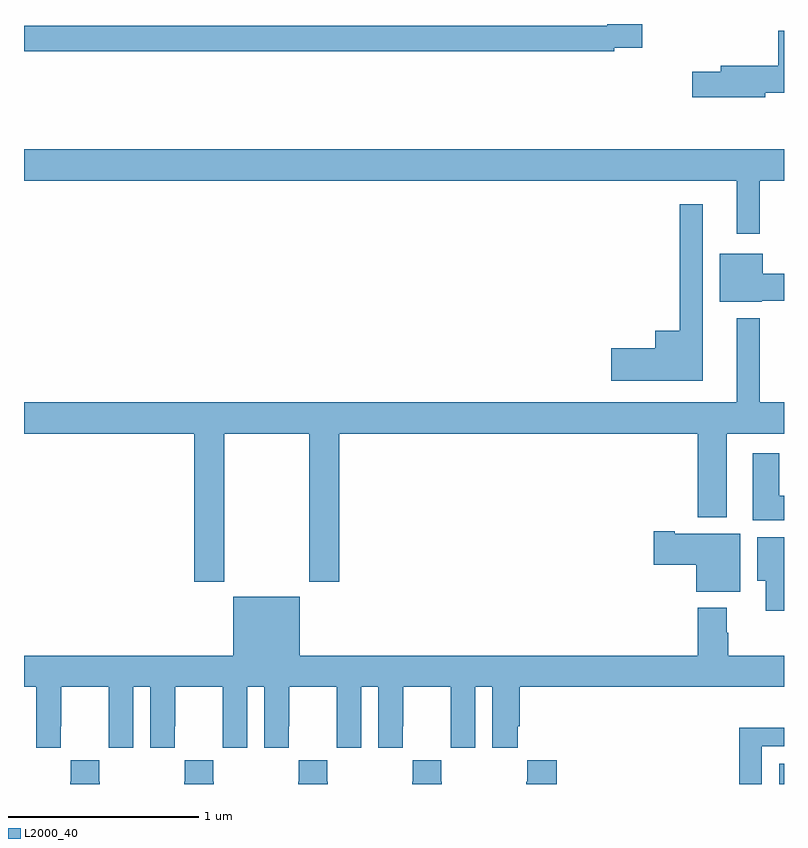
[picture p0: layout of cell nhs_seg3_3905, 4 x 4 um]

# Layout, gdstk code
import gdstk
lib = gdstk.Library(unit=1e-6, precision=1e-09)
def R(c, l, rs):  # rectangles x0, y0, x1, y1
    for r in rs: c.add(gdstk.rectangle(r[:2], r[2:], *l))
def P(c, l, *ps):  # polygons
    for p in ps: c.add(gdstk.Polygon(p, *l))
L2000_40 = (2000, 40)

nhs_seg3_3905 = lib.new_cell('nhs_seg3_3905')
R(nhs_seg3_3905, L2000_40, [(316.974,704.4,317,704.506)])
P(nhs_seg3_3905, L2000_40, [(316.106,708.276),(316.253,708.276),(316.253,708.4),(316.07,708.4),(316.07,708.392),(313,708.392),(313,708.256),(316.106,708.256)],
  [(316.902,708.038),(317,708.038),(317,708.364),(316.97,708.364),(316.97,708.179),(316.667,708.179),(316.667,708.149),(316.518,708.149),(316.518,708.014),(316.902,708.014)],
  [(316.873,707.576),(317,707.576),(317,707.74),(313,707.74),(313,707.576),(316.751,707.576),(316.751,707.295),(316.873,707.295)],
  [(316.573,707.452),(316.452,707.452),(316.452,706.786),(316.322,706.786),(316.322,706.694),(316.092,706.694),(316.092,706.523),(316.573,706.523)],
  [(316.884,706.943),(317,706.943),(317,707.085),(316.888,707.085),(316.888,707.191),(316.661,707.191),(316.661,706.937),(316.884,706.937)],
  [(314.055,706.244),(314.5,706.244),(314.5,705.465),(314.66,705.465),(314.66,706.244),(316.547,706.244),(316.547,705.803),(316.699,705.803),(316.699,706.244),(317,706.244),(317,706.408),(316.873,706.408),(316.873,706.852),(316.751,706.852),(316.751,706.408),(313,706.408),(313,706.244),(313.895,706.244),(313.895,705.465),(314.055,705.465)],
  [(317,705.916),(316.975,705.916),(316.975,706.141),(316.835,706.141),(316.835,705.788),(317,705.788)],
  [(316.771,705.718),(316.426,705.718),(316.426,705.731),(316.314,705.731),(316.314,705.553),(316.538,705.553),(316.538,705.413),(316.771,705.413)],
  [(317,705.7),(316.859,705.7),(316.859,705.47),(316.904,705.47),(316.904,705.312),(317,705.312)],
  [(314.452,705.385),(314.102,705.385),(314.102,705.076),(313,705.076),(313,704.912),(313.064,704.912),(313.064,704.592),(313.194,704.592),(313.194,704.704),(313.195,704.704),(313.195,704.912),(313.445,704.912),(313.445,704.704),(313.446,704.704),(313.446,704.592),(313.576,704.592),(313.576,704.912),(313.664,704.912),(313.664,704.592),(313.794,704.592),(313.794,704.704),(313.795,704.704),(313.795,704.912),(314.045,704.912),(314.045,704.704),(314.046,704.704),(314.046,704.592),(314.176,704.592),(314.176,704.912),(314.264,704.912),(314.264,704.592),(314.394,704.592),(314.394,704.704),(314.395,704.704),(314.395,704.912),(314.645,704.912),(314.645,704.704),(314.646,704.704),(314.646,704.592),(314.776,704.592),(314.776,704.912),(314.864,704.912),(314.864,704.592),(314.994,704.592),(314.994,704.704),(314.995,704.704),(314.995,704.912),(315.245,704.912),(315.245,704.704),(315.246,704.704),(315.246,704.592),(315.376,704.592),(315.376,704.912),(315.464,704.912),(315.464,704.592),(315.598,704.592),(315.598,704.704),(315.608,704.704),(315.608,704.912),(317,704.912),(317,705.076),(316.707,705.076),(316.707,705.197),(316.699,705.197),(316.699,705.328),(316.547,705.328),(316.547,705.076),(314.452,705.076)],
  [(316.882,704.598),(317,704.598),(317,704.696),(316.764,704.696),(316.764,704.4),(316.882,704.4)],
  [(315.198,704.411),(315.195,704.411),(315.195,704.524),(315.045,704.524),(315.045,704.411),(315.043,704.411),(315.043,704.4),(315.198,704.4)],
  [(315.803,704.524),(315.649,704.524),(315.649,704.411),(315.643,704.411),(315.643,704.4),(315.803,704.4)],
  [(314.598,704.411),(314.595,704.411),(314.595,704.524),(314.445,704.524),(314.445,704.411),(314.443,704.411),(314.443,704.4),(314.598,704.4)],
  [(313.998,704.411),(313.995,704.411),(313.995,704.524),(313.845,704.524),(313.845,704.411),(313.843,704.411),(313.843,704.4),(313.998,704.4)],
  [(313.398,704.411),(313.395,704.411),(313.395,704.524),(313.245,704.524),(313.245,704.411),(313.243,704.411),(313.243,704.4),(313.398,704.4)])

lib.write_gds('nhs_seg3_3905.gds')
